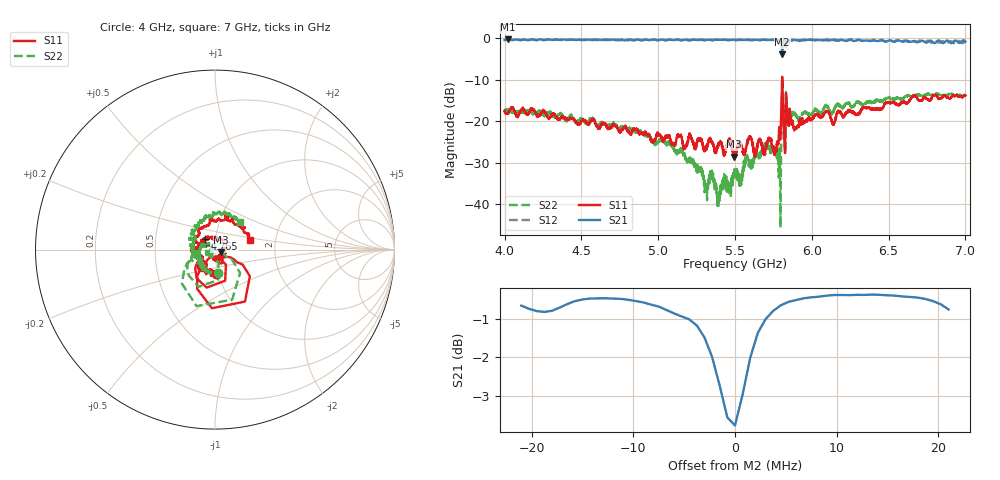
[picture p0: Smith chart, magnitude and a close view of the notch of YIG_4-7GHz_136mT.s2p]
#  HZ  S  RI  R  50.0
! Rohde & Schwarz ZVL13 2Ports - Version 3.31 - 1303.6509k13 SN: 101088
! Date: 2023-03-06 15:06:30
! Data & Calibration Information:
! Trc4:S11(TOSM) Trc2:S21(TOSM) Trc3:S12(TOSM) Trc5:S22(TOSM)
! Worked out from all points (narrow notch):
!   4000 points, 4 GHz to 7 GHz, reference 50 ohm
!   highest |S21| = -0.19 dB at 4.02 GHz (marker M1); lowest = -3.8 dB at 5.807 GHz (marker M2)
!   notch at M2: 3.4 dB deep, 3.62 MHz wide at half that depth
!   lowest |S11| = -28.5 dB at 5.493 GHz (marker M3), VSWR 1.08, Z = 53.5 - j1.73 ohm
!   |S11| at or under -10 dB: start of sweep to 5.806 GHz; 5.808 GHz to end of sweep
!   |S22| runs from -45.6 to -9.6 dB; largest |S21 - S12| = 0.077
!   S11 on the Smith chart (normalised r, x): 4 GHz: 0.97, -0.27; 4.765 GHz: 0.89, +0.11; 7 GHz: 1.48, +0.17
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4e9  0.00354 -0.1343  -0.9074 -0.3124  -0.9128 -0.291  0.0181 -0.1285
4.019505e9  -0.0184 -0.1227  -0.9399 -0.2731  -0.9319 -0.2752  0.0115 -0.1385
4.276819e9  -0.072 -0.0907  -0.9289 0.2816  -0.9308 0.2915  -0.0678 -0.1035
4.500375e9  -0.0995 -0.00817  -0.6594 0.7087  -0.6542 0.6958  -0.0818 -0.0649
4.765191e9  -0.0561 0.0591  -0.1433 0.9524  -0.1589 0.9534  -0.0885 -0.000141
5e9  0.000175 0.0713  0.3335 0.8968  0.3363 0.8839  -0.0466 0.0341
5.214554e9  0.0445 0.0467  0.7214 0.6312  0.7187 0.6374  -0.0204 0.0255
5.311328e9  0.0506 0.00709  0.8422 0.4606  0.8332 0.469  -0.011 0.0102
5.348087e9  0.0558 0.0142  0.8799 0.3895  0.8701 0.3759  -0.0223 0.0115
5.390098e9  0.052 -0.00828  0.9142 0.3101  0.9175 0.2916  -0.011 0.00435
5.492873e9  0.034 -0.0161  0.9617 0.0863  0.9605 0.0743  -0.0209 -0.0041
5.500375e9  0.0348 -0.0269  0.9622 0.0686  0.9505 0.0626  -0.019 -0.00982
5.595649e9  0.0392 -0.05  0.9528 -0.1359  0.9462 -0.1497  -0.027 -0.0177
5.700675e9  -0.0065 -0.0472  0.8924 -0.3654  0.885 -0.3722  -0.0473 -0.0223
5.784696e9  0.0337 -0.0549  0.7576 -0.5606  0.7847 -0.5386  -0.0193 -0.00856
5.807202e9  0.0809 -0.3363  0.5492 -0.3424  0.567 -0.3952  0.00157 -0.3305
5.819955e9  -0.041 -0.0554  0.7708 -0.5701  0.7451 -0.5376  -0.0881 -0.0392
6e9  -0.1054 -0.0139  0.459 -0.8394  0.4716 -0.8614  -0.1215 0.0232
6.253563e9  -0.111 0.0703  -0.1061 -0.9549  -0.1081 -0.9766  -0.1133 0.1034
6.500375e9  -0.0215 0.1698  -0.5891 -0.7406  -0.6062 -0.7407  -0.052 0.186
6.772693e9  0.1165 0.1387  -0.9145 -0.2375  -0.8762 -0.1984  0.0549 0.1997
7e9  0.1969 0.0543  -0.8808 0.2548  -0.901 0.2266  0.139 0.1513
